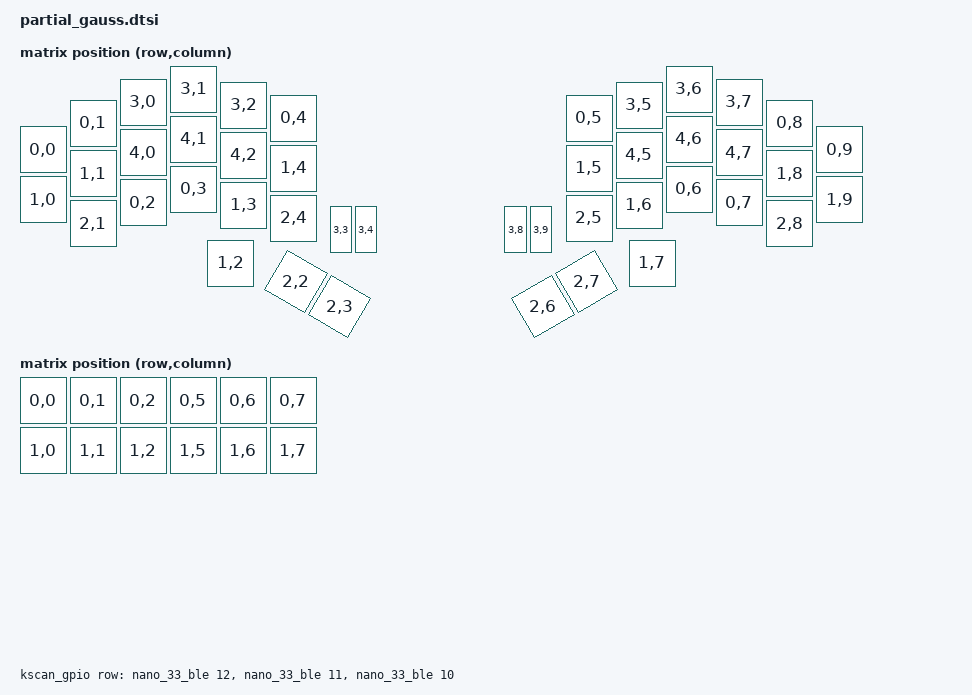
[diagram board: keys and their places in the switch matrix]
/*
 * Copyright (c) 2025 cr3eperall
 *
 * SPDX-License-Identifier: MIT
 */

#include <dt-bindings/zmk/matrix_transform.h>
#include <dt-bindings/he/mouse_forwarder.h>
#include <dt-bindings/he/gamepad_forwarder.h>
#include <input/he_processors.dtsi>
#include <physical_layouts.dtsi>

&adc {
    status = "okay";

    #address-cells = <1>;
    #size-cells = <0>;
    // nrf52840/nano_33_ble adc pin assignments:
    // AIN2 = P0.04 (A0 in nano_33_ble)
    // AIN3 = P0.05 (A1 in nano_33_ble)
    // AIN6 = P0.30 (A2 in nano_33_ble)
    // AIN5 = P0.29 (A3 in nano_33_ble)
    // AIN7 = P0.31 (A4 in nano_33_ble)
    // AIN0 = P0.02 (A5 in nano_33_ble)
    // AIN4 = P0.28 (A6 in nano_33_ble)
    // AIN1 = P0.03 (A7 in nano_33_ble)
    channel@0 {
        reg = <0>;
        zephyr,input-positive = <NANO_33_BLE_A0>;
        zephyr,gain = "ADC_GAIN_1_2";
        zephyr,reference = "ADC_REF_INTERNAL";
        zephyr,acquisition-time = <ADC_ACQ_TIME(ADC_ACQ_TIME_MICROSECONDS, 10)>;
        zephyr,resolution = <12>;
    };
    channel@1 {
        reg = <1>;
        zephyr,input-positive = <NANO_33_BLE_A1>;
        zephyr,gain = "ADC_GAIN_1_2";
        zephyr,reference = "ADC_REF_INTERNAL";
        zephyr,acquisition-time = <ADC_ACQ_TIME(ADC_ACQ_TIME_MICROSECONDS, 10)>;
        zephyr,resolution = <12>;
    };
    channel@2 {
        reg = <2>;
        zephyr,input-positive = <NANO_33_BLE_A2>;
        zephyr,gain = "ADC_GAIN_1_2";
        zephyr,reference = "ADC_REF_INTERNAL";
        zephyr,acquisition-time = <ADC_ACQ_TIME(ADC_ACQ_TIME_MICROSECONDS, 10)>;
        zephyr,resolution = <12>;
    };
    channel@3 {
        reg = <3>;
        zephyr,input-positive = <NANO_33_BLE_A3>;
        zephyr,gain = "ADC_GAIN_1_2";
        zephyr,reference = "ADC_REF_INTERNAL";
        zephyr,acquisition-time = <ADC_ACQ_TIME(ADC_ACQ_TIME_MICROSECONDS, 10)>;
        zephyr,resolution = <12>;
    };
    channel@4 {
        reg = <4>;
        zephyr,input-positive = <NANO_33_BLE_A4>;
        zephyr,gain = "ADC_GAIN_1_2";
        zephyr,reference = "ADC_REF_INTERNAL";
        zephyr,acquisition-time = <ADC_ACQ_TIME(ADC_ACQ_TIME_MICROSECONDS, 10)>;
        zephyr,resolution = <12>;
    };
    channel@5 {
        reg = <5>;
        zephyr,input-positive = <NANO_33_BLE_A5>;
        zephyr,gain = "ADC_GAIN_1_2";
        zephyr,reference = "ADC_REF_INTERNAL";
        zephyr,acquisition-time = <ADC_ACQ_TIME(ADC_ACQ_TIME_MICROSECONDS, 10)>;
        zephyr,resolution = <12>;
    };
    // channel@6 {
    //     reg = <6>;
    //     zephyr,input-positive = <NRF_SAADC_VDDHDIV5>;
    //     zephyr,gain = "ADC_GAIN_1_2";
    //     zephyr,reference = "ADC_REF_INTERNAL";
    //     zephyr,acquisition-time = <ADC_ACQ_TIME(ADC_ACQ_TIME_MICROSECONDS, 40)>;
    //     zephyr,resolution = <12>;
    // };
};

&raw_sp {
    matrix-size = <2 3>;
    working-area = <250 3050>;
    // I lost so many hours debugging this with the wrong values, please check them carefully in the future
    filter-coefficients = <0x3ca485df 0x3d2485df 0x3ca485df 0x3f800000 0xbfc7cf71 0x3f242f9d>;
};

&he_trans {
    // log;
};
&he_pass {
    kscan-passthrough-position = <2700>;
    keymap-size = <12>;
};
&rt_pass{
    keymap-size = <12>;
};
&mouse_fw{
    time-to-max-speed-ms = <300>;
    working-area = <300 2800>;
    scale-x-float = <0x40400000>;/* 3.0 */
    scale-y-float = <0x40400000>;/* 3.0 */
    scale-h-wheel-float = <0x40400000>;/* 3.0 */
    scale-v-wheel-float = <0x40400000>;/* 3.0 */
};
// &uart0{
//     status="okay";
// };

/ {
    chosen {
        // zephyr,display = &oled;
        zmk,kscan = &kscan;
        zmk,physical-layout = &physical_layout0;
        // zmk,battery = &battery_ch;
        // zephyr,console = &uart0;
        // zephyr,console = &snippet_zmk_usb_logging_uart;
        // zephyr,shell-uart = &snippet_zmk_usb_logging_uart;
    };

    // On the nano 33 ble, the battery is connected to an on board regulator that goes to vdd, so the only way to measure the battery is with a voltage divider
    // but i don't have any free adc pins
    // 
    // battery_ch: battery_channel {
    //     compatible = "zmk,battery-nrf-vddh-channel";
    //     io-channels = <&adc 6>;
    // };
    
    physical_layout0: physical_layout_0 { // First physical layout, use different naming for other layouts
        compatible = "zmk,physical-layout";
        display-name = "Default Layout";
        kscan = <&kscan>; // Label of the kscan node, optional if all layouts use the same
        transform = <&default_transform>; // Label of the matrix transform for this layout
        keys  //                     w   h    x    y     rot    rx    ry
            = <&key_physical_attrs 100 100    0  121       0     0     0>
            , <&key_physical_attrs 100 100  100   68       0     0     0>
            , <&key_physical_attrs 100 100  200   26       0     0     0>
            , <&key_physical_attrs 100 100  301    0       0     0     0>
            , <&key_physical_attrs 100 100  401   32       0     0     0>
            , <&key_physical_attrs 100 100  501   58       0     0     0>
            , <&key_physical_attrs 100 100 1092   58       0     0     0>
            , <&key_physical_attrs 100 100 1192   32       0     0     0>
            , <&key_physical_attrs 100 100 1292    0       0     0     0>
            , <&key_physical_attrs 100 100 1392   26       0     0     0>
            , <&key_physical_attrs 100 100 1493   68       0     0     0>
            , <&key_physical_attrs 100 100 1593  121       0     0     0>
            , <&key_physical_attrs 100 100    0  221       0     0     0>
            , <&key_physical_attrs 100 100  100  169       0     0     0>
            , <&key_physical_attrs 100 100  200  127       0     0     0>
            , <&key_physical_attrs 100 100  301  100       0     0     0>
            , <&key_physical_attrs 100 100  401  132       0     0     0>
            , <&key_physical_attrs 100 100  501  158       0     0     0>
            , <&key_physical_attrs 100 100 1092  158       0     0     0>
            , <&key_physical_attrs 100 100 1192  132       0     0     0>
            , <&key_physical_attrs 100 100 1292  100       0     0     0>
            , <&key_physical_attrs 100 100 1392  127       0     0     0>
            , <&key_physical_attrs 100 100 1493  169       0     0     0>
            , <&key_physical_attrs 100 100 1593  221       0     0     0>
            , <&key_physical_attrs 100 100  100  269       0     0     0>
            , <&key_physical_attrs 100 100  200  227       0     0     0>
            , <&key_physical_attrs 100 100  301  200       0     0     0>
            , <&key_physical_attrs 100 100  401  232       0     0     0>
            , <&key_physical_attrs 100 100  501  258       0     0     0>
            , <&key_physical_attrs 100 100 1092  258       0     0     0>
            , <&key_physical_attrs 100 100 1192  232       0     0     0>
            , <&key_physical_attrs 100 100 1292  200       0     0     0>
            , <&key_physical_attrs 100 100 1392  227       0     0     0>
            , <&key_physical_attrs 100 100 1493  269       0     0     0>
            , <&key_physical_attrs  50 100  620  280       0     0     0>
            , <&key_physical_attrs  50 100  670  280       0     0     0>
            , <&key_physical_attrs 100 100  375  348       0     0     0>
            , <&key_physical_attrs 100 100  506  385    3000   556   435>
            , <&key_physical_attrs 100 100  593  435    3000   643   485>
            , <&key_physical_attrs 100 100 1000  435 (-3000)  1050   485>
            , <&key_physical_attrs 100 100 1087  385 (-3000)  1137   435>
            , <&key_physical_attrs 100 100 1218  348       0     0     0>
            , <&key_physical_attrs  50 100  970  280       0     0     0>
            , <&key_physical_attrs  50 100 1020  280       0     0     0>
            ;
    };


    default_transform: keymap_transform_0 {
        compatible = "zmk,matrix-transform";
        columns = <12>;
        rows = <4>;
// |  SW1  |  SW2  |  HE1  |  HE2  |  HE3  |  SW3  | |  SW3  |  HE3  |  HE2  |  HE1  |  SW2  |  SW1  |
// |  SW4  |  SW5  |  HE4  |  HE5  |  HE6  |  SW6  | |  SW6  |  HE6  |  HE5  |  HE4  |  SW5  |  SW4  |
//         |  SW7  |  SW8  |  SW9  | SW10  | SW11  | | SW11  | SW10  |  SW9  |  SW8  |  SW7  | 
//                         |  SW12 | SW13  | SW14  | | SW14  | SW13  | SW12  |
        map = <
    RC(0,0) RC(0,1) RC(3,0) RC(3,1) RC(3,2) RC(0,4)   RC(0,5) RC(3,5) RC(3,6) RC(3,7) RC(0,8) RC(0,9)
    RC(1,0) RC(1,1) RC(4,0) RC(4,1) RC(4,2) RC(1,4)   RC(1,5) RC(4,5) RC(4,6) RC(4,7) RC(1,8) RC(1,9)
            RC(2,1) RC(0,2) RC(0,3) RC(1,3) RC(2,4)   RC(2,5) RC(1,6) RC(0,6) RC(0,7) RC(2,8)
    RC(3,3) RC(3,4)         RC(1,2) RC(2,2) RC(2,3)   RC(2,6) RC(2,7) RC(1,7)         RC(3,8)  RC(3,9)
        >;
    };

    kscan_gpio: kscan-gpio {
        compatible = "zmk,kscan-gpio-matrix";
        wakeup-source;

        diode-direction = "col2row";
        row-gpios
            = <&nano_33_ble 12 (GPIO_ACTIVE_HIGH | GPIO_PULL_DOWN)>
            , <&nano_33_ble 11 (GPIO_ACTIVE_HIGH | GPIO_PULL_DOWN)>
            , <&nano_33_ble 10 (GPIO_ACTIVE_HIGH | GPIO_PULL_DOWN)>
            ;

    };

    kscan: kscan0 {
        compatible = "zmk,kscan-composite";
        wakeup-source;
        rows = <4>;
        columns = <12>;
        gpio-matrix {
            kscan = <&kscan_gpio>;
            row-offset = <0>;
            col-offset = <0>;
        };
        adc-direct {
            kscan = <&kscan_adc>;
            row-offset = <3>;
            col-offset = <0>;
        };
        select-switches {
            kscan = <&kscan_selector>;
            row-offset = <3>;
            col-offset = <3>;
        };
    };

    pulse_set_forwarder: pulse-set-forwarder {
        compatible = "he,pulse-set-forwarder";
    };

    kscan_adc: kscan-adc {
        compatible = "he,kscan-direct-pulsed";
        resolution = <12>;
        pulse-read;
        // calibrate;
        read-turn-on-time= <50>;
        wait-period-idle= <5>;
        wait-period-press= <1>;
        kscan-forwarder = <&kscan_forwarder>;
        pulse-set-forwarder= <&pulse_set_forwarder>;
        kscan_adc_top: top {
            enable-gpios= <&nano_33_ble_gpio_a 6 (GPIO_ACTIVE_HIGH | GPIO_PULL_DOWN)>;
            // switch-pressed-is-higher;
            switch-height = <3300>;
        };
        kscan_adc_bot: bot {
            enable-gpios= <&nano_33_ble_gpio_a 7 (GPIO_ACTIVE_HIGH | GPIO_PULL_DOWN)>;
            // switch-pressed-is-higher;
            switch-height = <3300>;
        };
    };
    kscan_selector: kscan-selector {
        compatible = "zmk,kscan-gpio-direct"; //TODO implement custom driver with pull_up toggling
        // wakeup-source;
    };

    socd_d: he-socd1{
        compatible = "he,input-processor-socd";
        #input-processor-cells = <1>;
        sensitivity = <250>;
        kscan-forwarder = <&kscan_forwarder>;
        kscan-passthrough;
        actuation-point = <2800>;
        type= "priority_deeper";
    };

    ps: he_set_p{ //name needs to be <= 8 chars
        compatible = "he,behavior-pulse-set";
        #binding-cells = <1>;
        pulse-set-forwarder = <&pulse_set_forwarder>;
    };

    he_transform: he_transform {// mapping of he sensors before going to kscan-composite but with he,input-processor-matrix-offset applied
        compatible = "zmk,matrix-transform";
        // status= "disabled";
        columns = <8>;
        rows = <2>;
        // |  HE1  |  HE2  |  HE3  |  |  HE3  |  HE2  |  HE1  |
        // |  HE4  |  HE5  |  HE6  |  |  HE6  |  HE5  |  HE4  |
        map = <
            RC(0,0) RC(0,1) RC(0,2)    RC(0,5) RC(0,6) RC(0,7)
            RC(1,0) RC(1,1) RC(1,2)    RC(1,5) RC(1,6) RC(1,7)
        >;
    };

    he_keymap: he-keymap {
        compatible = "he,input-processor-keymap";
        status= "disabled";
        #input-processor-cells = <1>;
        transform = <&he_transform>;
    };
    
    split_inputs: split_inputs {
        #address-cells = <1>;
        #size-cells = <0>;
        input_split: input_split@0 {
            compatible = "zmk,input-split";
            reg = <0>;
        };
    };

    central_listener: central_listener {
        compatible = "he,input-listener";
        status = "disabled";
        device = <&kscan_adc>;
        input-processors = <&raw_sp>;
        layer8 {
            layers = <8>;
            input-processors = <&he_keymap 8>;
        };
        layer7 {
            layers = <7>;
            input-processors = <&he_keymap 7>;
        };
        layer6 {
            layers = <6>;
            input-processors = <&he_keymap 6>;
        };
        layer5 {
            layers = <5>;
            input-processors = <&he_keymap 5>;
        };
        layer4 {
            layers = <4>;
            input-processors = <&he_keymap 4>;
        };
        layer3 {
            layers = <3>;
            input-processors = <&he_keymap 3>;
        };
        layer2 {
            layers = <2>;
            input-processors = <&he_keymap 2>;
        };
        layer1 {
            layers = <1>;
            input-processors = <&he_keymap 1>;
        };
        layer0 {
            layers = <0>;
            input-processors = <&he_keymap 0>;
        };
    };
    peripheral_listener: peripheral_listener {
        compatible = "he,input-listener";
        status = "disabled";
        device = <&input_split>;
        layer8 {
            layers = <8>;
            input-processors = <&he_keymap 8>;
        };
        layer7 {
            layers = <7>;
            input-processors = <&he_keymap 7>;
        };
        layer6 {
            layers = <6>;
            input-processors = <&he_keymap 6>;
        };
        layer5 {
            layers = <5>;
            input-processors = <&he_keymap 5>;
        };
        layer4 {
            layers = <4>;
            input-processors = <&he_keymap 4>;
        };
        layer3 {
            layers = <3>;
            input-processors = <&he_keymap 3>;
        };
        layer2 {
            layers = <2>;
            input-processors = <&he_keymap 2>;
        };
        layer1 {
            layers = <1>;
            input-processors = <&he_keymap 1>;
        };
        layer0 {
            layers = <0>;
            input-processors = <&he_keymap 0>;
        };
    };
    mouse_fw_listener: mouse_fw_listener {
        compatible = "he,input-listener";
        status = "disabled";
        device = <&mouse_fw>;
    };
        
};

// &nano_33_ble_i2c {
//     status = "okay";

//     oled: ssd1306@3c {
//         compatible = "solomon,ssd1306fb";
//         reg = <0x3c>;
//         width = <128>;
//         height = <32>;
//         segment-offset = <0>;
//         page-offset = <0>;
//         display-offset = <0>;
//         multiplex-ratio = <31>;
//         segment-remap;
//         com-invdir;
//         com-sequential;
//         inversion-on;
//         prechargep = <0x22>;
//     };
// };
